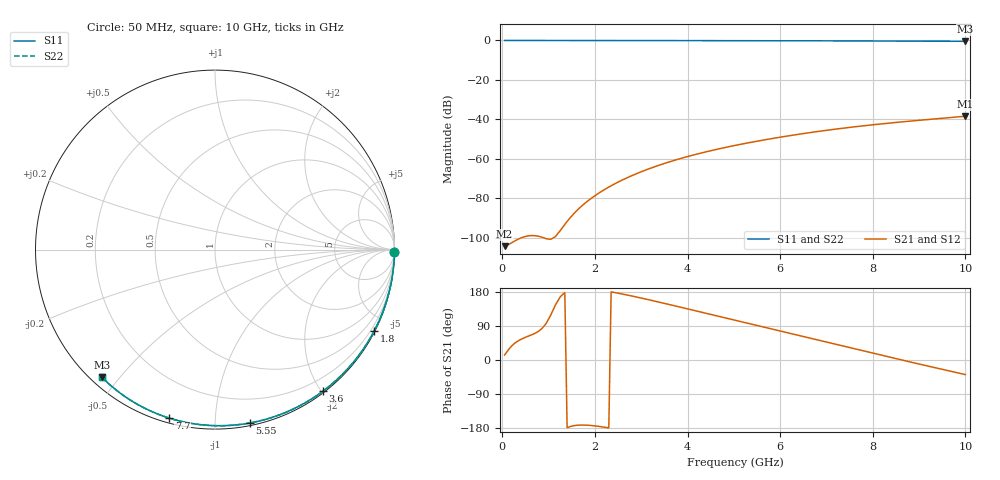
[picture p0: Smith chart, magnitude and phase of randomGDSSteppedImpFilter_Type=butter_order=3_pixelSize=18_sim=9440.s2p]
! freq	dB(S11)	phase(S11)	dB(S12)	phase(S12)
!  dB(S21)	phase(S21)	dB(S22)	phase(S22)
!S-par simulation data
#  GHz  S  DB  R 50
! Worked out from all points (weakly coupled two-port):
!   200 points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, 50 MHz to 10 GHz, reference 50 ohm
!   highest |S21| = -38.37 dB at 10 GHz (marker M1); lowest = -104.2 dB at 50 MHz (marker M2)
!   lowest |S11| = -0.4 dB at 10 GHz (marker M3), VSWR 39.23, Z = 1.53 - j22.5 ohm
!   |S11| at or under -10 dB: nowhere
!   |S22| runs from -0.4 to 0.0 dB; largest |S21 - S12| = 0
!   S11 on the Smith chart (normalised r, x): 50 MHz: open; 1.8 GHz: 0.04, -4.17; 3.6 GHz: 0.02, -2.02; 5.55 GHz: 0.02, -1.22; 7.7 GHz: 0.02, -0.77; 10 GHz: 0.03, -0.45
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0.05  -0.00 -0.8  -104.18 13.2  -104.18 13.2  -0.00 -0.8
0.45  -0.01 -6.8  -99.60 57.3  -99.60 57.3  -0.01 -6.8
0.9  -0.02 -13.6  -100.02 89.3  -100.02 89.3  -0.02 -13.6
1.75  -0.03 -26.2  -83.12 -171.7  -83.12 -171.7  -0.03 -26.2
1.8  -0.03 -27.0  -82.14 -171.9  -82.14 -171.9  -0.03 -27.0
1.9  -0.04 -28.4  -80.31 -172.6  -80.31 -172.6  -0.04 -28.4
1.95  -0.04 -29.2  -79.45 -173.2  -79.45 -173.2  -0.04 -29.2
2.25  -0.04 -33.5  -74.91 -178.2  -74.91 -178.2  -0.04 -33.5
2.55  -0.05 -37.9  -71.14 175.1  -71.14 175.1  -0.05 -37.9
2.95  -0.06 -43.6  -66.96 164.8  -66.96 164.8  -0.06 -43.6
3.4  -0.07 -49.9  -63.06 152.3  -63.06 152.3  -0.07 -49.9
3.6  -0.07 -52.7  -61.54 146.5  -61.54 146.5  -0.07 -52.7
3.9  -0.08 -56.8  -59.45 137.8  -59.45 137.8  -0.08 -56.8
4.3  -0.09 -62.3  -56.97 126.1  -56.97 126.1  -0.09 -62.3
5.05  -0.11 -72.3  -53.04 104.2  -53.04 104.2  -0.11 -72.3
5.55  -0.13 -78.7  -50.80 89.6  -50.80 89.6  -0.13 -78.7
6.1  -0.15 -85.7  -48.60 73.6  -48.60 73.6  -0.15 -85.7
6.7  -0.18 -93.1  -46.47 56.1  -46.47 56.1  -0.18 -93.1
7.7  -0.24 -105.1  -43.48 26.8  -43.48 26.8  -0.24 -105.1
8.35  -0.29 -112.7  -41.86 7.8  -41.86 7.8  -0.29 -112.7
9.15  -0.36 -121.9  -40.13 -14.9  -40.13 -14.9  -0.36 -121.9
10  -0.44 -131.6  -38.37 -38.5  -38.37 -38.5  -0.44 -131.6
